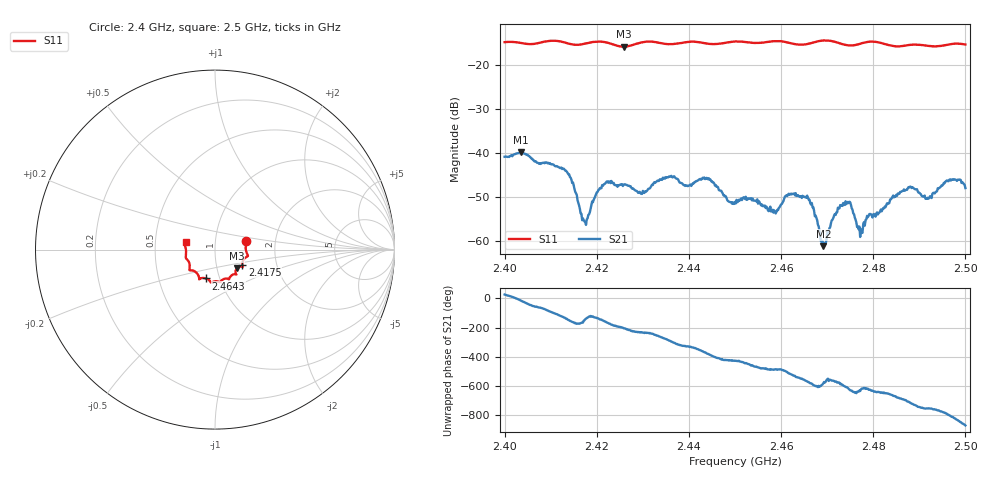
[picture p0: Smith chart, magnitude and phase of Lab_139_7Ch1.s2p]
# Hz S RI R 50
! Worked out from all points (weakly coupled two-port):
!   601 points, 2.4 GHz to 2.5 GHz, reference 50 ohm
!   highest |S21| = -39.94 dB at 2.4035 GHz (marker M1); lowest = -61.2 dB at 2.4692 GHz (marker M2)
!   lowest |S11| = -15.9 dB at 2.4258 GHz (marker M3), VSWR 1.38, Z = 62.3 - j13.3 ohm
!   |S11| at or under -10 dB: start of sweep to end of sweep
!   S12 and S22 are empty: the file has one direction only
!   S11 on the Smith chart (normalised r, x): 2.4 GHz: 1.41, +0.14; 2.4175 GHz: 1.34, -0.23; 2.4643 GHz: 0.86, -0.28; 2.5 GHz: 0.72, +0.06
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2.4e9  0.1732 0.0489  0.00808 0.00396  0 0  0 0
2.4035e9  0.1738 0.0305  0.00976 -0.00246  0 0  0 0
2.413167e9  0.1725 -0.042  -0.00442 -0.00443  0 0  0 0
2.416667e9  0.1528 -0.0742  -0.00198 -0.000451  0 0  0 0
2.4175e9  0.1519 -0.0836  -0.00131 -0.000977  0 0  0 0
2.421667e9  0.153 -0.0959  -0.00403 -0.00177  0 0  0 0
2.425833e9  0.1218 -0.1038  -0.00394 0.00181  0 0  0 0
2.433333e9  0.1127 -0.1373  -0.0011 0.00465  0 0  0 0
2.444167e9  0.0621 -0.161  0.00469 -0.0017  0 0  0 0
2.45e9  0.0285 -0.1808  0.00106 -0.00255  0 0  0 0
2.458833e9  -0.0217 -0.1837  -0.00116 -0.00168  0 0  0 0
2.464333e9  -0.05 -0.1608  -0.00317 0.000509  0 0  0 0
2.466667e9  -0.0761 -0.1592  -0.00195 0.00185  0 0  0 0
2.469167e9  -0.0881 -0.166  -0.000659 0.000565  0 0  0 0
2.4735e9  -0.094 -0.1414  -0.00149 0.00223  0 0  0 0
2.475e9  -0.1063 -0.1263  -8.46e-05 0.00274  0 0  0 0
2.477167e9  -0.128 -0.116  7.07e-05 0.0011  0 0  0 0
2.483333e9  -0.1406 -0.0898  0.00101 0.00245  0 0  0 0
2.488e9  -0.1601 -0.0501  0.00409 0.000449  0 0  0 0
2.491833e9  -0.1613 -0.0272  0.00261 -0.00162  0 0  0 0
2.496167e9  -0.1673 0.0212  0.00124 -0.00459  0 0  0 0
2.5e9  -0.1637 0.0425  -0.0034 -0.00204  0 0  0 0
